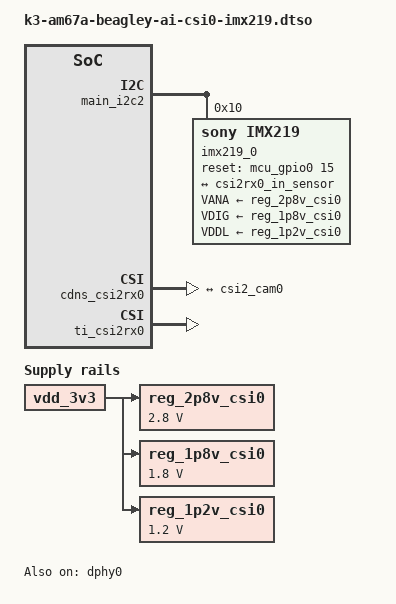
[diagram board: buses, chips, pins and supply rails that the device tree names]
// SPDX-License-Identifier: GPL-2.0-only OR MIT
/*
 * RPi Camera V2.1 on BeagleY AI CSI0 port
 *
 * Copyright (C) 2026 Ideas On Board Oy
 */

/dts-v1/;
/plugin/;

#include <dt-bindings/gpio/gpio.h>
#include "k3-pinctrl.h"

&{/} {
	clk_imx219_csi0: imx219-csi0-xclk {
		compatible = "fixed-clock";
		#clock-cells = <0>;
		clock-frequency = <24000000>;
	};

	reg_2p8v_csi0: regulator-2p8v-csi0 {
		compatible = "regulator-fixed";
		regulator-name = "2P8V_CSI0";
		regulator-min-microvolt = <2800000>;
		regulator-max-microvolt = <2800000>;
		vin-supply = <&vdd_3v3>;
		regulator-always-on;
	};

	reg_1p8v_csi0: regulator-1p8v-csi0 {
		compatible = "regulator-fixed";
		regulator-name = "1P8V_CSI0";
		regulator-min-microvolt = <1800000>;
		regulator-max-microvolt = <1800000>;
		vin-supply = <&vdd_3v3>;
		regulator-always-on;
	};

	reg_1p2v_csi0: regulator-1p2v-csi0 {
		compatible = "regulator-fixed";
		regulator-name = "1P2V_CSI0";
		regulator-min-microvolt = <1200000>;
		regulator-max-microvolt = <1200000>;
		vin-supply = <&vdd_3v3>;
		regulator-always-on;
	};
};

&mcu_pmx0 {
	cam0_reset_pins_default: cam0-default-reset-pins {
		pinctrl-single,pins = <
			J722S_MCU_IOPAD(0x003c, PIN_OUTPUT, 7) /* (C1) MCU_MCAN1_TX.MCU_GPIO0_15 */
		>;
	};
};

&mcu_gpio0 {
	status = "okay";
};

&main_i2c2 {
	#address-cells = <1>;
	#size-cells = <0>;

	status = "okay";

	imx219_0: sensor@10 {
		compatible = "sony,imx219";
		reg = <0x10>;

		clocks = <&clk_imx219_csi0>;

		VANA-supply = <&reg_2p8v_csi0>;
		VDIG-supply = <&reg_1p8v_csi0>;
		VDDL-supply = <&reg_1p2v_csi0>;

		pinctrl-names = "default";
		pinctrl-0 = <&cam0_reset_pins_default>;

		reset-gpios = <&mcu_gpio0 15 GPIO_ACTIVE_HIGH>;

		port {
			csi2_cam0: endpoint {
				remote-endpoint = <&csi2rx0_in_sensor>;
				link-frequencies = /bits/ 64 <456000000>;
				clock-lanes = <0>;
				data-lanes = <1 2>;
			};
		};
	};
};

&cdns_csi2rx0 {
	ports {
		#address-cells = <1>;
		#size-cells = <0>;

		csi0_port0: port@0 {
			reg = <0>;
			status = "okay";

			csi2rx0_in_sensor: endpoint {
				remote-endpoint = <&csi2_cam0>;
				bus-type = <4>; /* CSI2 DPHY. */
				clock-lanes = <0>;
				data-lanes = <1 2>;
			};
		};
	};
};

&ti_csi2rx0 {
	status = "okay";
};

&dphy0 {
	status = "okay";
};
